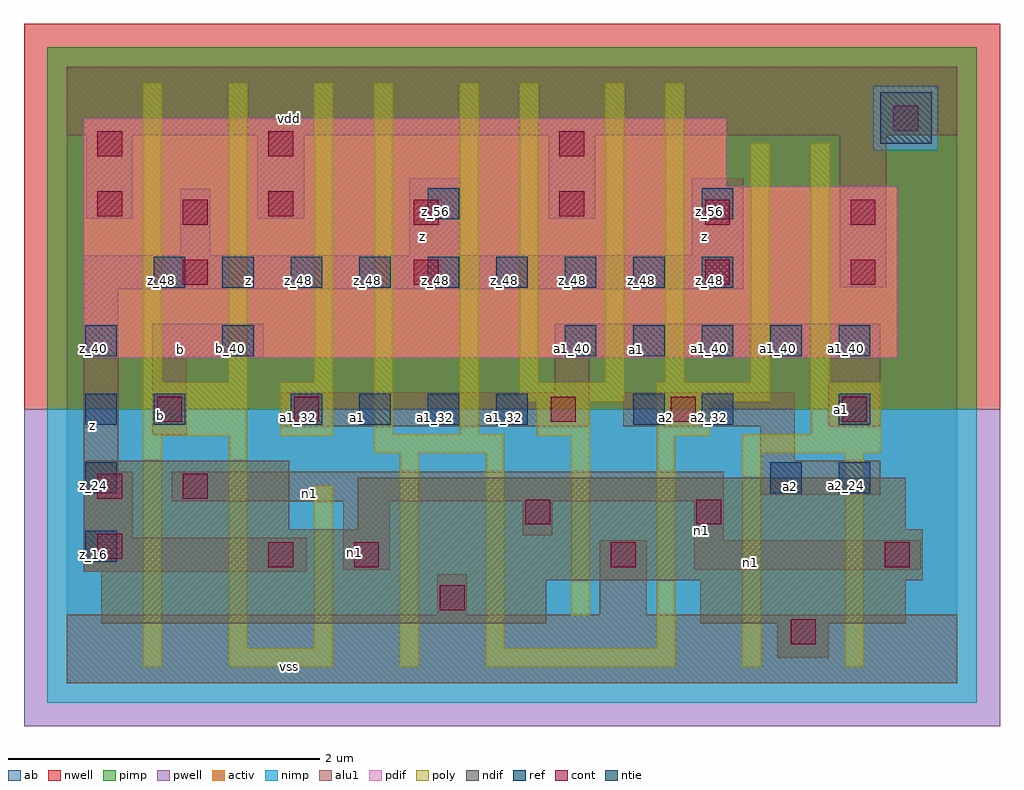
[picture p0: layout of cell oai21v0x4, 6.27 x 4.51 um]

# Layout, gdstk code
import gdstk
lib = gdstk.Library(unit=1e-6, precision=2.5e-09)
def R(c, l, rs):  # rectangles x0, y0, x1, y1
    for r in rs: c.add(gdstk.rectangle(r[:2], r[2:], *l))
def A(c, l, x, y, w, h, nx, ny, dx, dy):  # array of equal rectangles
    R(c, l, [(x+i*dx, y+j*dy, x+i*dx+w, y+j*dy+h) for i in range(nx) for j in range(ny)])
ndif = (3, 0)
pdif = (4, 0)
ntie = (5, 0)
ref = (24, 0)
cont = (25, 0)
pwell = (41, 0)
nwell = (42, 0)
activ = (43, 0)
pimp = (44, 0)
nimp = (45, 0)
poly = (46, 0)
alu1 = (49, 0)
ab = (63, 0)

oai21v0x4 = lib.new_cell('oai21v0x4')
R(oai21v0x4, ndif, [(4.565,0.165,4.895,0.385), (0.22,0.385,3.08,0.66), (4.07,0.385,5.39,0.66), (0.22,0.66,5.5,0.715), (0.11,0.715,5.5,0.99), (0.11,0.99,1.43,1.43), (1.87,0.99,5.39,1.32)])
R(oai21v0x4, pdif, [(0.11,2.09,5.335,3.19), (0.11,3.19,4.235,3.63)])
R(oai21v0x4, ntie, [(5.225,3.465,5.555,3.795)])
A(oai21v0x4, ref, 0.12, 0.78, 0.2, 0.2, 1, 4, 0, 0.44)
A(oai21v0x4, ref, 1.44, 1.66, 0.2, 0.2, 4, 1, 0.44, 0)
A(oai21v0x4, ref, 3.2, 2.1, 0.2, 0.2, 5, 1, 0.44, 0)
A(oai21v0x4, ref, 0.56, 2.54, 0.2, 0.2, 9, 1, 0.44, 0)
R(oai21v0x4, ref, [(4.52,1.22,4.72,1.42), (4.96,1.22,5.16,1.42), (0.56,1.66,0.76,1.86), (3.64,1.66,3.84,1.86), (4.08,1.66,4.28,1.86), (4.96,1.66,5.16,1.86), (1,2.1,1.2,2.3), (2.32,2.98,2.52,3.18), (4.08,2.98,4.28,3.18)])
R(oai21v0x4, cont, [(4.65,0.25,4.81,0.41), (2.395,0.47,2.555,0.63), (1.295,0.745,1.455,0.905), (1.845,0.745,2.005,0.905), (3.495,0.745,3.655,0.905), (5.255,0.745,5.415,0.905), (0.195,0.8,0.355,0.96), (2.945,1.02,3.105,1.18), (4.045,1.02,4.205,1.18), (0.195,1.185,0.355,1.345), (0.745,1.185,0.905,1.345), (0.58,1.68,0.74,1.84), (1.46,1.68,1.62,1.84), (3.11,1.68,3.27,1.84), (3.88,1.68,4.04,1.84), (4.98,1.68,5.14,1.84), (0.745,2.56,0.905,2.72), (2.23,2.56,2.39,2.72), (4.1,2.56,4.26,2.72), (5.035,2.56,5.195,2.72), (0.745,2.945,0.905,3.105), (2.23,2.945,2.39,3.105), (4.1,2.945,4.26,3.105), (5.035,2.945,5.195,3.105), (0.195,3,0.355,3.16), (1.295,3,1.455,3.16), (3.165,3,3.325,3.16), (0.195,3.385,0.355,3.545), (1.295,3.385,1.455,3.545), (3.165,3.385,3.325,3.545), (5.31,3.55,5.47,3.71)])
R(oai21v0x4, pwell, [(-0.275,-0.275,5.995,1.76)])
R(oai21v0x4, nwell, [(-0.275,1.76,5.995,4.235)])
R(oai21v0x4, activ, [(4.565,0.165,4.895,0.385), (0.22,0.385,3.08,0.66), (4.07,0.385,5.39,0.66), (0.22,0.66,5.5,0.715), (0.11,0.715,5.5,0.99), (0.11,0.99,1.43,1.43), (1.87,0.99,5.39,1.32), (0.11,2.09,5.335,3.19), (0.11,3.19,4.235,3.63), (5.225,3.465,5.555,3.795)])
R(oai21v0x4, pimp, [(-0.125,1.76,5.845,3.425), (-0.125,3.425,5.185,3.835), (5.595,3.425,5.845,3.835), (-0.125,3.835,5.845,4.085)])
R(oai21v0x4, nimp, [(-0.125,-0.125,5.845,1.76), (5.185,3.425,5.595,3.835)])
A(oai21v0x4, poly, 0.49, 1.93, 0.12, 1.925, 3, 1, 0.55, 0)
R(oai21v0x4, poly, [(0.49,0.105,0.61,1.59), (1.04,0.105,1.71,0.225), (2.14,0.105,2.26,1.48), (2.69,0.105,3.91,0.225), (4.34,0.105,4.46,1.48), (5,0.105,5.12,1.48), (1.04,0.225,1.16,1.59), (1.59,0.225,1.71,1.27), (2.69,0.225,2.81,1.48), (3.79,0.225,3.91,1.59), (3.24,0.435,3.36,1.59), (1.975,1.48,2.81,1.6), (4.34,1.48,5.23,1.6), (0.49,1.59,1.16,1.93), (1.37,1.59,1.71,1.93), (3.02,1.59,3.36,1.81), (3.79,1.59,4.13,1.81), (1.975,1.6,2.095,3.855), (2.525,1.6,2.645,3.855), (4.78,1.6,5.23,1.93), (2.91,1.81,3.58,1.93), (3.79,1.81,4.515,1.93), (2.91,1.93,3.03,3.855), (3.46,1.93,3.58,3.855), (3.845,1.93,3.965,3.855), (4.395,1.93,4.515,3.47), (4.78,1.93,4.9,3.47)])
R(oai21v0x4, alu1, [(0,0,5.72,0.44), (2.38,0.44,2.57,0.7), (3.425,0.44,3.725,0.92), (0.11,0.715,1.54,0.935), (1.775,0.73,2.075,1.17), (4.03,0.73,5.485,0.92), (4.03,0.92,4.22,1.17), (0.11,0.935,0.425,1.36), (2.93,0.95,3.12,1.17), (0.675,1.17,4.22,1.36), (4.455,1.21,5.225,1.43), (0.11,1.36,0.33,2.53), (4.455,1.43,4.675,1.65), (0.55,1.595,0.77,2.09), (1.375,1.65,3.355,1.87), (3.575,1.65,4.675,1.87), (4.895,1.65,5.225,2.09), (3.135,1.87,3.355,2.09), (0.55,2.09,1.265,2.31), (3.135,2.09,5.225,2.31), (0.11,2.53,4.345,2.75), (4.965,2.545,5.265,3.52), (0.73,2.75,0.92,3.175), (2.2,2.75,2.53,3.245), (4.015,2.75,4.345,3.245), (0.125,2.985,0.425,3.52), (1.225,2.985,1.525,3.52), (3.095,2.985,3.395,3.52), (0,3.52,5.72,3.96)])
R(oai21v0x4, ab, [(0,0,5.72,3.96)])
oai21v0x4.add(gdstk.Label('vss', (1.43,0.11), layer=49, texttype=0))
oai21v0x4.add(gdstk.Label('n1', (4.3925,0.7775), layer=49, texttype=0))
oai21v0x4.add(gdstk.Label('n1', (4.0775,0.9825), layer=49, texttype=0))
oai21v0x4.add(gdstk.Label('n1', (1.85,0.84), layer=49, texttype=0))
oai21v0x4.add(gdstk.Label('a2', (4.6475,1.265), layer=49, texttype=0))
oai21v0x4.add(gdstk.Label('n1', (1.56,1.2175), layer=49, texttype=0))
oai21v0x4.add(gdstk.Label('a1', (4.9775,1.76), layer=49, texttype=0))
oai21v0x4.add(gdstk.Label('a2', (3.85,1.705), layer=49, texttype=0))
oai21v0x4.add(gdstk.Label('a1', (1.87,1.705), layer=49, texttype=0))
oai21v0x4.add(gdstk.Label('b', (0.605,1.7175), layer=49, texttype=0))
oai21v0x4.add(gdstk.Label('a1', (3.6575,2.145), layer=49, texttype=0))
oai21v0x4.add(gdstk.Label('b', (0.7275,2.145), layer=49, texttype=0))
oai21v0x4.add(gdstk.Label('z', (0.165,1.6525), layer=49, texttype=0))
oai21v0x4.add(gdstk.Label('z', (1.1675,2.585), layer=49, texttype=0))
oai21v0x4.add(gdstk.Label('z', (4.0975,2.8725), layer=49, texttype=0))
oai21v0x4.add(gdstk.Label('z', (2.2825,2.8725), layer=49, texttype=0))
oai21v0x4.add(gdstk.Label('vdd', (1.43,3.63), layer=49, texttype=0))
oai21v0x4.add(gdstk.Label('a1_40', (5.01,2.15), layer=24, texttype=0))
oai21v0x4.add(gdstk.Label('a1_32', (5.01,1.71), layer=24, texttype=0))
oai21v0x4.add(gdstk.Label('a2_24', (5.01,1.27), layer=24, texttype=0))
oai21v0x4.add(gdstk.Label('a1_40', (4.57,2.15), layer=24, texttype=0))
oai21v0x4.add(gdstk.Label('a2_24', (4.57,1.27), layer=24, texttype=0))
oai21v0x4.add(gdstk.Label('z_56', (4.13,3.03), layer=24, texttype=0))
oai21v0x4.add(gdstk.Label('z_48', (4.13,2.59), layer=24, texttype=0))
oai21v0x4.add(gdstk.Label('a1_40', (4.13,2.15), layer=24, texttype=0))
oai21v0x4.add(gdstk.Label('a2_32', (4.13,1.71), layer=24, texttype=0))
oai21v0x4.add(gdstk.Label('z_48', (3.69,2.59), layer=24, texttype=0))
oai21v0x4.add(gdstk.Label('a1_40', (3.69,2.15), layer=24, texttype=0))
oai21v0x4.add(gdstk.Label('a2_32', (3.69,1.71), layer=24, texttype=0))
oai21v0x4.add(gdstk.Label('z_48', (3.25,2.59), layer=24, texttype=0))
oai21v0x4.add(gdstk.Label('a1_40', (3.25,2.15), layer=24, texttype=0))
oai21v0x4.add(gdstk.Label('z_48', (2.81,2.59), layer=24, texttype=0))
oai21v0x4.add(gdstk.Label('a1_32', (2.81,1.71), layer=24, texttype=0))
oai21v0x4.add(gdstk.Label('z_56', (2.37,3.03), layer=24, texttype=0))
oai21v0x4.add(gdstk.Label('z_48', (2.37,2.59), layer=24, texttype=0))
oai21v0x4.add(gdstk.Label('a1_32', (2.37,1.71), layer=24, texttype=0))
oai21v0x4.add(gdstk.Label('z_40', (0.17,2.15), layer=24, texttype=0))
oai21v0x4.add(gdstk.Label('z_32', (0.17,1.71), layer=24, texttype=0))
oai21v0x4.add(gdstk.Label('z_24', (0.17,1.27), layer=24, texttype=0))
oai21v0x4.add(gdstk.Label('z_16', (0.17,0.83), layer=24, texttype=0))
oai21v0x4.add(gdstk.Label('z_48', (1.93,2.59), layer=24, texttype=0))
oai21v0x4.add(gdstk.Label('a1_32', (1.93,1.71), layer=24, texttype=0))
oai21v0x4.add(gdstk.Label('z_48', (1.49,2.59), layer=24, texttype=0))
oai21v0x4.add(gdstk.Label('a1_32', (1.49,1.71), layer=24, texttype=0))
oai21v0x4.add(gdstk.Label('z_48', (1.05,2.59), layer=24, texttype=0))
oai21v0x4.add(gdstk.Label('b_40', (1.05,2.15), layer=24, texttype=0))
oai21v0x4.add(gdstk.Label('z_48', (0.61,2.59), layer=24, texttype=0))
oai21v0x4.add(gdstk.Label('b_32', (0.61,1.71), layer=24, texttype=0))

lib.write_gds('oai21v0x4.gds')
